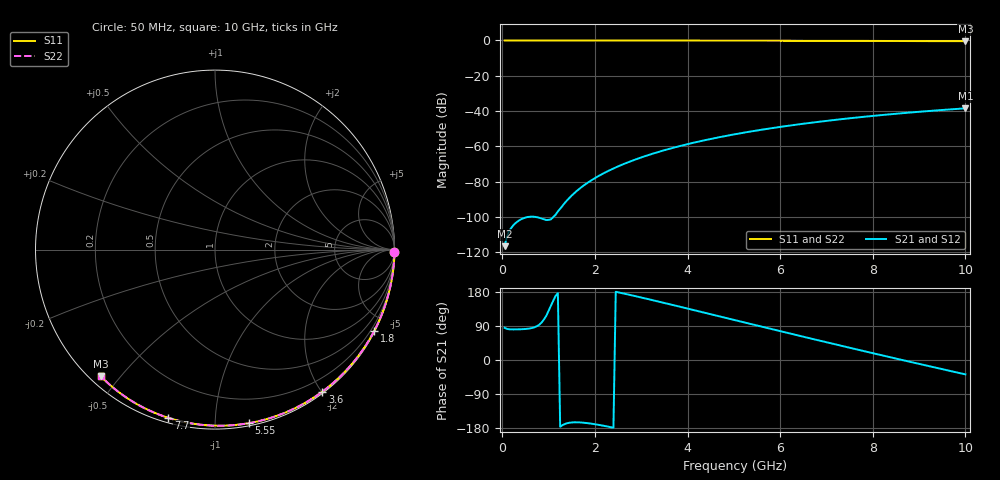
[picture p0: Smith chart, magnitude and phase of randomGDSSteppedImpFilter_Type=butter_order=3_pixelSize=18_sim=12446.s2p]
! freq	dB(S11)	phase(S11)	dB(S12)	phase(S12)
!  dB(S21)	phase(S21)	dB(S22)	phase(S22)
!S-par simulation data
#  GHz  S  DB  R 50
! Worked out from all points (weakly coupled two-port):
!   200 points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, 50 MHz to 10 GHz, reference 50 ohm
!   highest |S21| = -38.45 dB at 10 GHz (marker M1); lowest = -116.6 dB at 50 MHz (marker M2)
!   lowest |S11| = -0.4 dB at 10 GHz (marker M3), VSWR 39.14, Z = 1.53 - j22.2 ohm
!   |S11| at or under -10 dB: nowhere
!   |S22| runs from -0.4 to 0.0 dB; largest |S21 - S12| = 0
!   S11 on the Smith chart (normalised r, x): 50 MHz: open; 1.8 GHz: 0.04, -4.16; 3.6 GHz: 0.02, -2.01; 5.55 GHz: 0.02, -1.21; 7.7 GHz: 0.02, -0.76; 10 GHz: 0.03, -0.44
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0.05  -0.00 -0.8  -116.55 84.9  -116.55 84.9  -0.00 -0.8
0.9  -0.02 -13.6  -101.39 107.2  -101.39 107.2  -0.02 -13.6
1.75  -0.03 -26.3  -82.33 -165.4  -82.33 -165.4  -0.03 -26.3
1.8  -0.03 -27.0  -81.38 -166.0  -81.38 -166.0  -0.03 -27.0
1.85  -0.04 -27.8  -80.49 -166.8  -80.49 -166.8  -0.04 -27.8
1.9  -0.04 -28.5  -79.63 -167.6  -79.63 -167.6  -0.04 -28.5
2.05  -0.04 -30.7  -77.23 -170.5  -77.23 -170.5  -0.04 -30.7
2.25  -0.04 -33.6  -74.42 -175.0  -74.42 -175.0  -0.04 -33.6
2.45  -0.05 -36.5  -71.93 180.0  -71.93 180.0  -0.05 -36.5
2.65  -0.05 -39.4  -69.70 174.7  -69.70 174.7  -0.05 -39.4
3  -0.06 -44.4  -66.29 165.0  -66.29 165.0  -0.06 -44.4
3.4  -0.07 -50.1  -62.94 153.4  -62.94 153.4  -0.07 -50.1
3.6  -0.07 -52.9  -61.45 147.6  -61.45 147.6  -0.07 -52.9
4.3  -0.09 -62.5  -56.94 126.8  -56.94 126.8  -0.09 -62.5
5.05  -0.11 -72.5  -53.01 104.4  -53.01 104.4  -0.11 -72.5
5.55  -0.13 -79.0  -50.78 89.5  -50.78 89.5  -0.13 -79.0
6.1  -0.15 -85.9  -48.61 73.2  -48.61 73.2  -0.15 -85.9
6.7  -0.18 -93.4  -46.52 55.6  -46.52 55.6  -0.18 -93.4
7.7  -0.24 -105.4  -43.54 26.6  -43.54 26.6  -0.24 -105.4
8.35  -0.29 -113.1  -41.88 8.0  -41.88 8.0  -0.29 -113.1
9.15  -0.36 -122.3  -40.09 -14.4  -40.09 -14.4  -0.36 -122.3
10  -0.44 -132.0  -38.45 -37.9  -38.45 -37.9  -0.44 -132.0
